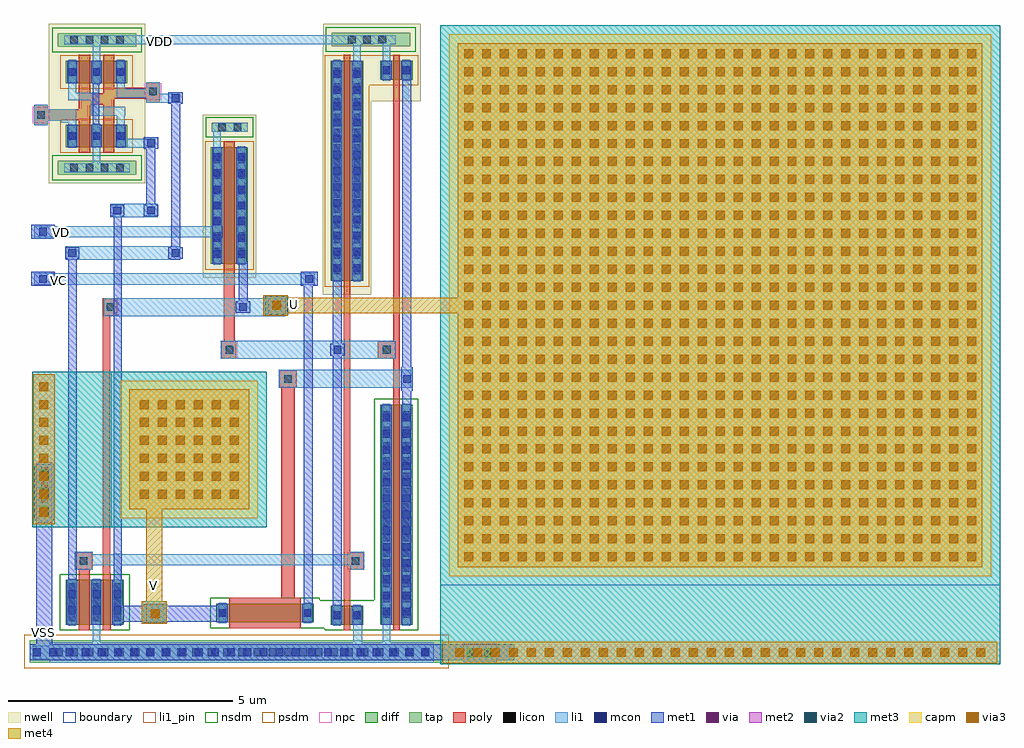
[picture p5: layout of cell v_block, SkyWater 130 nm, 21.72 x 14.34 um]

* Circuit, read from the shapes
.subckt v_block U V VC VD VDD VSS
XM1 VSS V sky130_fd_pr__nfet_01v8_NNSXPP_7/D VSS sky130_fd_pr__nfet_01v8 w=1 l=0.25
XM2 V U VSS VSS sky130_fd_pr__nfet_01v8 w=1 l=0.18
XM3 VC sky130_fd_pr__nfet_01v8_YR5YMH_10/S V VSS sky130_fd_pr__nfet_01v8 w=0.42 l=1.6
XM4 VSS V sky130_fd_pr__nfet_01v8_WDNT9J_11/D VSS sky130_fd_pr__nfet_01v8 w=0.42 l=0.15
XM5 sky130_fd_pr__nfet_01v8_YR5YMH_10/S sky130_fd_pr__nfet_01v8_WDNT9J_11/D VSS VSS sky130_fd_pr__nfet_01v8 w=4.9 l=0.15
XM6 VDD sky130_fd_pr__nfet_01v8_NNSXPP_7/D sky130_fd_pr__nfet_01v8_NNSXPP_7/D VDD sky130_fd_pr__pfet_01v8 w=0.5 l=0.25 m=2
XM7 VDD sky130_fd_pr__nfet_01v8_NNSXPP_7/D V VDD sky130_fd_pr__pfet_01v8 w=0.5 l=0.25 m=2
XM8 U sky130_fd_pr__nfet_01v8_WDNT9J_11/D VD VD sky130_fd_pr__pfet_01v8 w=2.6 l=0.25
XM9 VDD V sky130_fd_pr__nfet_01v8_WDNT9J_11/D VDD sky130_fd_pr__pfet_01v8 w=4.9 l=0.15
XM10 sky130_fd_pr__nfet_01v8_YR5YMH_10/S sky130_fd_pr__nfet_01v8_WDNT9J_11/D VDD VDD sky130_fd_pr__pfet_01v8 w=0.42 l=0.15
XC11 V VSS sky130_fd_pr__cap_mim_m3_1 w=3.06 l=3.06
XC12 U VSS sky130_fd_pr__cap_mim_m3_1 w=12.06 l=12.06
.ends

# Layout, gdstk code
from math import pi, radians
import gdstk
lib = gdstk.Library(unit=1e-6, precision=1e-09)
def R(c, l, rs):  # rectangles x0, y0, x1, y1
    for r in rs: c.add(gdstk.rectangle(r[:2], r[2:], *l))
def A(c, l, x, y, w, h, nx, ny, dx, dy):  # array of equal rectangles
    R(c, l, [(x+i*dx, y+j*dy, x+i*dx+w, y+j*dy+h) for i in range(nx) for j in range(ny)])
nwell = (64, 20)
diff = (65, 20)
tap = (65, 44)
poly = (66, 20)
licon = (66, 44)
li1_pin = (67, 16)
li1 = (67, 20)
mcon = (67, 44)
met1 = (68, 20)
via = (68, 44)
met2 = (69, 20)
via2 = (69, 44)
met3 = (70, 20)
via3 = (70, 44)
met4 = (71, 20)
capm = (89, 44)
nsdm = (93, 44)
psdm = (94, 20)
npc = (95, 20)
boundary = (235, 4)

sky130_fd_pr__pfet_01v8_ = lib.new_cell('sky130_fd_pr__pfet_01v8_DFN4CE')
R(sky130_fd_pr__pfet_01v8_, nwell, [(-0.865,-0.56,0.865,0.56)])
R(sky130_fd_pr__pfet_01v8_, diff, [(-0.685,-0.25,0.685,0.25)])
R(sky130_fd_pr__pfet_01v8_, poly, [(-0.395,-0.38,-0.145,0.38), (0.145,-0.38,0.395,0.38)])
A(sky130_fd_pr__pfet_01v8_, licon, -0.625, -0.085, 0.17, 0.17, 3, 1, 0.54, 0)
A(sky130_fd_pr__pfet_01v8_, li1, -0.625, -0.27, 0.17, 0.54, 3, 1, 0.54, 0)
A(sky130_fd_pr__pfet_01v8_, mcon, -0.625, -0.085, 0.17, 0.17, 3, 1, 0.54, 0)
A(sky130_fd_pr__pfet_01v8_, met1, -0.655, -0.25, 0.23, 0.5, 3, 1, 0.54, 0)
R(sky130_fd_pr__pfet_01v8_, psdm, [(-0.81,-0.375,0.81,0.375)])
sky130_fd_pr__pfet_01v8_.add(gdstk.Label('S1', (0,0), layer=67, texttype=5))
sky130_fd_pr__pfet_01v8_.add(gdstk.Label('D0', (-0.54,0), layer=67, texttype=5))

sky130_fd_pr__cap_mim_m3 = lib.new_cell('sky130_fd_pr__cap_mim_m3_1_Y8YGPQ')
R(sky130_fd_pr__cap_mim_m3, met3, [(-2.61,-1.73,2.61,1.73)])
A(sky130_fd_pr__cap_mim_m3, via3, 2.25, -1.5, 0.2, 0.2, 1, 8, 0, 0.4)
A(sky130_fd_pr__cap_mim_m3, via3, -1.98, -1.1, 0.2, 0.2, 6, 6, 0.4, 0.4)
R(sky130_fd_pr__cap_mim_m3, met4, [(2.11,-1.67,2.59,1.67), (-2.215,-1.335,0.455,1.335)])
R(sky130_fd_pr__cap_mim_m3, capm, [(-2.41,-1.53,0.65,1.53)])
R(sky130_fd_pr__cap_mim_m3, boundary, [(-2.61,-1.73,0.85,1.73)])
sky130_fd_pr__cap_mim_m3.add(gdstk.Label('C1', (-0.88,0), layer=71, texttype=5))
sky130_fd_pr__cap_mim_m3.add(gdstk.Label('C2', (2.35,0), layer=71, texttype=5))

c_sky130_fd_pr__cap_mim_m3 = lib.new_cell('sky130_fd_pr__cap_mim_m3_1_UQ5C2T')
R(c_sky130_fd_pr__cap_mim_m3, met3, [(-7.11,-6.23,7.11,6.23)])
A(c_sky130_fd_pr__cap_mim_m3, via3, 6.75, -5.9, 0.2, 0.2, 1, 30, 0, 0.4)
A(c_sky130_fd_pr__cap_mim_m3, via3, -6.58, -5.7, 0.2, 0.2, 29, 29, 0.4, 0.4)
R(c_sky130_fd_pr__cap_mim_m3, met4, [(6.61,-6.17,7.09,6.17), (-6.715,-5.835,4.955,5.835)])
R(c_sky130_fd_pr__cap_mim_m3, capm, [(-6.91,-6.03,5.15,6.03)])
R(c_sky130_fd_pr__cap_mim_m3, boundary, [(-7.11,-6.23,5.35,6.23)])
c_sky130_fd_pr__cap_mim_m3.add(gdstk.Label('C1', (-0.88,0), layer=71, texttype=5))
c_sky130_fd_pr__cap_mim_m3.add(gdstk.Label('C2', (6.85,0), layer=71, texttype=5))

c_sky130_fd_pr__pfet_01v8_ = lib.new_cell('sky130_fd_pr__pfet_01v8_L8NR4Q')
R(c_sky130_fd_pr__pfet_01v8_, nwell, [(-0.595,-1.61,0.595,1.61)])
R(c_sky130_fd_pr__pfet_01v8_, diff, [(-0.415,-1.3,0.415,1.3)])
R(c_sky130_fd_pr__pfet_01v8_, poly, [(-0.125,-1.43,0.125,1.43)])
A(c_sky130_fd_pr__pfet_01v8_, licon, -0.355, -1.105, 0.17, 0.17, 1, 7, 0, 0.34)
A(c_sky130_fd_pr__pfet_01v8_, licon, 0.185, -1.105, 0.17, 0.17, 1, 7, 0, 0.34)
R(c_sky130_fd_pr__pfet_01v8_, li1, [(-0.355,-1.32,-0.185,1.32), (0.185,-1.32,0.355,1.32)])
A(c_sky130_fd_pr__pfet_01v8_, mcon, -0.355, -1.165, 0.17, 0.17, 1, 7, 0, 0.36)
A(c_sky130_fd_pr__pfet_01v8_, mcon, 0.185, -1.165, 0.17, 0.17, 1, 7, 0, 0.36)
R(c_sky130_fd_pr__pfet_01v8_, met1, [(-0.385,-1.3,-0.155,1.3), (0.155,-1.3,0.385,1.3)])
R(c_sky130_fd_pr__pfet_01v8_, psdm, [(-0.54,-1.425,0.54,1.425)])
c_sky130_fd_pr__pfet_01v8_.add(gdstk.Label('S', (0.27,0), layer=67, texttype=5))
c_sky130_fd_pr__pfet_01v8_.add(gdstk.Label('D', (-0.27,0), layer=67, texttype=5))

c_sky130_fd_pr__pfet_01v8__ = lib.new_cell('sky130_fd_pr__pfet_01v8_DNXTX2')
R(c_sky130_fd_pr__pfet_01v8__, nwell, [(-0.545,-0.52,0.545,0.52)])
R(c_sky130_fd_pr__pfet_01v8__, diff, [(-0.365,-0.21,0.365,0.21)])
R(c_sky130_fd_pr__pfet_01v8__, poly, [(-0.075,-0.34,0.075,0.34)])
R(c_sky130_fd_pr__pfet_01v8__, licon, [(-0.305,-0.085,-0.135,0.085), (0.135,-0.085,0.305,0.085)])
R(c_sky130_fd_pr__pfet_01v8__, li1, [(-0.305,-0.23,-0.135,0.23), (0.135,-0.23,0.305,0.23)])
R(c_sky130_fd_pr__pfet_01v8__, mcon, [(-0.305,-0.085,-0.135,0.085), (0.135,-0.085,0.305,0.085)])
R(c_sky130_fd_pr__pfet_01v8__, met1, [(-0.335,-0.21,-0.105,0.21), (0.105,-0.21,0.335,0.21)])
R(c_sky130_fd_pr__pfet_01v8__, psdm, [(-0.49,-0.335,0.49,0.335)])
c_sky130_fd_pr__pfet_01v8__.add(gdstk.Label('S', (0.22,0), layer=67, texttype=5))
c_sky130_fd_pr__pfet_01v8__.add(gdstk.Label('D', (-0.22,0), layer=67, texttype=5))

c_sky130_fd_pr__pfet_01v8___ = lib.new_cell('sky130_fd_pr__pfet_01v8_NC9VRR')
R(c_sky130_fd_pr__pfet_01v8___, nwell, [(-0.545,-2.76,0.545,2.76)])
R(c_sky130_fd_pr__pfet_01v8___, diff, [(-0.365,-2.45,0.365,2.45)])
R(c_sky130_fd_pr__pfet_01v8___, poly, [(-0.075,-2.58,0.075,2.58)])
A(c_sky130_fd_pr__pfet_01v8___, licon, -0.305, -2.295, 0.17, 0.17, 1, 14, 0, 0.34)
A(c_sky130_fd_pr__pfet_01v8___, licon, 0.135, -2.295, 0.17, 0.17, 1, 14, 0, 0.34)
R(c_sky130_fd_pr__pfet_01v8___, li1, [(-0.305,-2.47,-0.135,2.47), (0.135,-2.47,0.305,2.47)])
A(c_sky130_fd_pr__pfet_01v8___, mcon, -0.305, -2.245, 0.17, 0.17, 1, 13, 0, 0.36)
A(c_sky130_fd_pr__pfet_01v8___, mcon, 0.135, -2.245, 0.17, 0.17, 1, 13, 0, 0.36)
R(c_sky130_fd_pr__pfet_01v8___, met1, [(-0.335,-2.45,-0.105,2.45), (0.105,-2.45,0.335,2.45)])
R(c_sky130_fd_pr__pfet_01v8___, psdm, [(-0.49,-2.575,0.49,2.575)])
c_sky130_fd_pr__pfet_01v8___.add(gdstk.Label('S', (0.22,0), layer=67, texttype=5))
c_sky130_fd_pr__pfet_01v8___.add(gdstk.Label('D', (-0.22,0), layer=67, texttype=5))

sky130_fd_pr__nfet_01v8_ = lib.new_cell('sky130_fd_pr__nfet_01v8_NNSXPP')
R(sky130_fd_pr__nfet_01v8_, diff, [(-0.415,-0.5,0.415,0.5)])
R(sky130_fd_pr__nfet_01v8_, poly, [(-0.125,-0.63,0.125,0.63)])
A(sky130_fd_pr__nfet_01v8_, licon, -0.355, -0.425, 0.17, 0.17, 1, 3, 0, 0.34)
A(sky130_fd_pr__nfet_01v8_, licon, 0.185, -0.425, 0.17, 0.17, 1, 3, 0, 0.34)
R(sky130_fd_pr__nfet_01v8_, li1, [(-0.355,-0.52,-0.185,0.52), (0.185,-0.52,0.355,0.52)])
R(sky130_fd_pr__nfet_01v8_, mcon, [(-0.355,-0.265,-0.185,-0.095), (0.185,-0.265,0.355,-0.095), (-0.355,0.095,-0.185,0.265), (0.185,0.095,0.355,0.265)])
R(sky130_fd_pr__nfet_01v8_, met1, [(-0.385,-0.5,-0.155,0.5), (0.155,-0.5,0.385,0.5)])
R(sky130_fd_pr__nfet_01v8_, nsdm, [(-0.54,-0.625,0.54,0.625)])
sky130_fd_pr__nfet_01v8_.add(gdstk.Label('S', (0.27,0), layer=67, texttype=5))
sky130_fd_pr__nfet_01v8_.add(gdstk.Label('D', (-0.27,0), layer=67, texttype=5))

c_sky130_fd_pr__nfet_01v8_ = lib.new_cell('sky130_fd_pr__nfet_01v8_5LG4QK')
R(c_sky130_fd_pr__nfet_01v8_, diff, [(-0.38,-0.5,0.38,0.5)])
R(c_sky130_fd_pr__nfet_01v8_, poly, [(-0.09,-0.63,0.09,0.63)])
A(c_sky130_fd_pr__nfet_01v8_, licon, -0.32, -0.425, 0.17, 0.17, 1, 3, 0, 0.34)
A(c_sky130_fd_pr__nfet_01v8_, licon, 0.15, -0.425, 0.17, 0.17, 1, 3, 0, 0.34)
R(c_sky130_fd_pr__nfet_01v8_, li1, [(-0.32,-0.52,-0.15,0.52), (0.15,-0.52,0.32,0.52)])
R(c_sky130_fd_pr__nfet_01v8_, mcon, [(-0.32,-0.265,-0.15,-0.095), (0.15,-0.265,0.32,-0.095), (-0.32,0.095,-0.15,0.265), (0.15,0.095,0.32,0.265)])
R(c_sky130_fd_pr__nfet_01v8_, met1, [(-0.35,-0.5,-0.12,0.5), (0.12,-0.5,0.35,0.5)])
R(c_sky130_fd_pr__nfet_01v8_, nsdm, [(-0.505,-0.625,0.505,0.625)])
c_sky130_fd_pr__nfet_01v8_.add(gdstk.Label('S', (0.235,0), layer=67, texttype=5))
c_sky130_fd_pr__nfet_01v8_.add(gdstk.Label('D', (-0.235,0), layer=67, texttype=5))

c_sky130_fd_pr__nfet_01v8__ = lib.new_cell('sky130_fd_pr__nfet_01v8_D8LFQT')
R(c_sky130_fd_pr__nfet_01v8__, diff, [(-1.09,-0.21,1.09,0.21)])
R(c_sky130_fd_pr__nfet_01v8__, poly, [(-0.8,-0.34,0.8,0.34)])
R(c_sky130_fd_pr__nfet_01v8__, licon, [(-1.03,-0.085,-0.86,0.085), (0.86,-0.085,1.03,0.085)])
R(c_sky130_fd_pr__nfet_01v8__, li1, [(-1.03,-0.23,-0.86,0.23), (0.86,-0.23,1.03,0.23)])
R(c_sky130_fd_pr__nfet_01v8__, mcon, [(-1.03,-0.085,-0.86,0.085), (0.86,-0.085,1.03,0.085)])
R(c_sky130_fd_pr__nfet_01v8__, met1, [(-1.06,-0.21,-0.83,0.21), (0.83,-0.21,1.06,0.21)])
R(c_sky130_fd_pr__nfet_01v8__, nsdm, [(-1.215,-0.335,1.215,0.335)])
c_sky130_fd_pr__nfet_01v8__.add(gdstk.Label('S', (0.945,0), layer=67, texttype=5))
c_sky130_fd_pr__nfet_01v8__.add(gdstk.Label('D', (-0.945,0), layer=67, texttype=5))

c_sky130_fd_pr__nfet_01v8___ = lib.new_cell('sky130_fd_pr__nfet_01v8_YR5YMH')
R(c_sky130_fd_pr__nfet_01v8___, diff, [(-0.365,-2.45,0.365,2.45)])
R(c_sky130_fd_pr__nfet_01v8___, poly, [(-0.075,-2.58,0.075,2.58)])
A(c_sky130_fd_pr__nfet_01v8___, licon, -0.305, -2.295, 0.17, 0.17, 1, 14, 0, 0.34)
A(c_sky130_fd_pr__nfet_01v8___, licon, 0.135, -2.295, 0.17, 0.17, 1, 14, 0, 0.34)
R(c_sky130_fd_pr__nfet_01v8___, li1, [(-0.305,-2.47,-0.135,2.47), (0.135,-2.47,0.305,2.47)])
A(c_sky130_fd_pr__nfet_01v8___, mcon, -0.305, -2.245, 0.17, 0.17, 1, 13, 0, 0.36)
A(c_sky130_fd_pr__nfet_01v8___, mcon, 0.135, -2.245, 0.17, 0.17, 1, 13, 0, 0.36)
R(c_sky130_fd_pr__nfet_01v8___, met1, [(-0.335,-2.45,-0.105,2.45), (0.105,-2.45,0.335,2.45)])
R(c_sky130_fd_pr__nfet_01v8___, nsdm, [(-0.49,-2.575,0.49,2.575)])
c_sky130_fd_pr__nfet_01v8___.add(gdstk.Label('S', (0.22,0), layer=67, texttype=5))
c_sky130_fd_pr__nfet_01v8___.add(gdstk.Label('D', (-0.22,0), layer=67, texttype=5))

c_sky130_fd_pr__nfet_01v8____ = lib.new_cell('sky130_fd_pr__nfet_01v8_WDNT9J')
R(c_sky130_fd_pr__nfet_01v8____, diff, [(-0.365,-0.21,0.365,0.21)])
R(c_sky130_fd_pr__nfet_01v8____, poly, [(-0.075,-0.34,0.075,0.34)])
R(c_sky130_fd_pr__nfet_01v8____, licon, [(-0.305,-0.085,-0.135,0.085), (0.135,-0.085,0.305,0.085)])
R(c_sky130_fd_pr__nfet_01v8____, li1, [(-0.305,-0.23,-0.135,0.23), (0.135,-0.23,0.305,0.23)])
R(c_sky130_fd_pr__nfet_01v8____, mcon, [(-0.305,-0.085,-0.135,0.085), (0.135,-0.085,0.305,0.085)])
R(c_sky130_fd_pr__nfet_01v8____, met1, [(-0.335,-0.21,-0.105,0.21), (0.105,-0.21,0.335,0.21)])
R(c_sky130_fd_pr__nfet_01v8____, nsdm, [(-0.49,-0.335,0.49,0.335)])
c_sky130_fd_pr__nfet_01v8____.add(gdstk.Label('S', (0.22,0), layer=67, texttype=5))
c_sky130_fd_pr__nfet_01v8____.add(gdstk.Label('D', (-0.22,0), layer=67, texttype=5))

v_block = lib.new_cell('v_block')
R(v_block, nwell, [(11.75,-3.635,12.94,-0.415), (8.325,-1.95,10.475,1.6), (14.44,-0.12,16.61,1.605)])
R(v_block, tap, [(7.9,-12.615,17.1,-12.115), (8.525,-1.755,10.275,-1.445), (11.95,-0.8,12.75,-0.6), (8.525,1.095,10.275,1.395), (14.62,1.105,16.37,1.405)])
R(v_block, poly, [(14.89,-11.35,15.04,-10.55), (13.65,-11.2,13.8,-11.175), (13.5,-11.175,13.8,-6.5), (8.99,-10.77,9.24,-10.55), (9.53,-10.77,9.7,-4.9), (8.9,-10.55,9.3,-10.15), (14.89,-10.55,15.35,-10.15), (14.89,-10.15,15.04,-4.25), (15.99,-6.79,16.14,-5.85), (13.45,-6.5,13.85,-6.1), (12.15,-5.85,12.5,-5.45), (15.65,-5.85,16.14,-5.45), (12.22,-5.45,12.47,-3.87), (15.99,-5.45,16.14,0.38), (9.53,-4.9,9.85,-4.5), (8.995,-0.82,9.245,-0.545), (9.535,-0.82,9.785,-0.195), (8,-0.65,8.3,-0.55), (8,-0.55,8.6,-0.545), (8,-0.545,9.245,-0.3), (8,-0.3,8.3,-0.2), (8.6,-0.3,9.245,-0.295), (8.995,-0.295,9.245,-0.195), (8.995,-0.195,9.785,-0.065), (10.5,-0.15,10.8,-0.065), (8.995,-0.065,10.8,0.055), (8.995,0.055,9.245,0.265), (9.535,0.055,10.8,0.185), (9.535,0.185,9.785,0.265), (10.5,0.185,10.8,0.3)])
A(v_block, licon, 8.465, -12.47, 0.17, 0.17, 25, 1, 0.34, 0)
A(v_block, licon, 8.805, -1.69, 0.17, 0.17, 4, 2, 0.34, 2.85)
A(v_block, licon, 14.985, 1.17, 0.17, 0.17, 3, 1, 0.34, 0)
R(v_block, licon, [(9.015,-10.435,9.185,-10.265), (15.065,-10.435,15.235,-10.265), (13.565,-6.385,13.735,-6.215), (12.265,-5.735,12.435,-5.565), (15.765,-5.735,15.935,-5.565), (9.615,-4.785,9.785,-4.615), (12.1,-0.785,12.27,-0.615), (12.44,-0.785,12.61,-0.615), (8.065,-0.51,8.235,-0.34), (10.565,0.015,10.735,0.185)])
R(v_block, li1_pin, [(10.75,1.2,10.82,1.22)])
R(v_block, li1, [(8.35,-12.615,16.9,-12.535), (7.965,-12.535,16.9,-12.235), (8.35,-12.235,16.9,-12.165), (9.3,-12.165,9.47,-11.775), (15.1,-12.165,15.3,-11.765), (15.76,-12.165,15.93,-11.775), (10.5,-11.7,10.9,-11.35), (9.77,-10.83,9.94,-10.45), (8.9,-10.55,9.3,-10.45), (15.035,-10.55,15.35,-10.45), (8.9,-10.45,15.35,-10.2), (8.9,-10.2,9.3,-10.15), (9.77,-10.2,9.94,-10.19), (15.035,-10.2,15.35,-10.15), (13.45,-6.5,16.4,-6.1), (12.15,-5.85,16.05,-5.45), (9.55,-4.9,13.6,-4.5), (13.2,-4.5,13.6,-4.49), (8,-4.2,14.25,-3.95), (8.7,-3.65,11.25,-3.35), (8,-3.15,12.2,-2.9), (9.7,-2.7,10.75,-2.4), (8.675,-1.705,10.125,-1.505), (9.305,-1.505,9.475,-1.075), (11.985,-1.2,12.155,-0.8), (9.845,-1.155,10.015,-1.15), (9.845,-1.15,10.7,-1.075), (8.765,-1.08,8.935,-0.6), (9.85,-1.075,10.7,-0.95), (11.95,-0.8,12.75,-0.6), (9.845,-0.7,10.015,-0.445), (8,-0.65,8.3,-0.55), (8.6,-0.6,8.935,-0.55), (8,-0.55,8.935,-0.3), (9.275,-0.445,10.025,-0.245), (8,-0.3,8.3,-0.2), (9.275,-0.245,9.445,-0.095), (10.5,-0.15,11.25,-0.045), (8.765,-0.095,9.445,0.075), (9.845,-0.045,11.25,0.05), (9.845,0.05,10.8,0.155), (8.765,0.075,8.935,0.325), (9.845,0.155,10.015,0.335), (10.5,0.155,10.8,0.3), (15.1,0.55,15.27,1.15), (15.76,0.555,15.93,1.15), (9.305,0.695,9.475,1.145), (8.675,1.145,10.125,1.15), (8.675,1.15,15.56,1.155), (15.76,1.15,16.05,1.155), (8.675,1.155,16.05,1.345), (8.7,1.345,16.05,1.35), (14.6,1.35,16.05,1.355)])
A(v_block, mcon, 7.98, -12.47, 0.17, 0.17, 25, 1, 0.36, 0)
R(v_block, mcon, [(10.615,-11.61,10.785,-11.44), (16.215,-6.385,16.385,-6.215), (14.665,-5.735,14.835,-5.565), (12.565,-4.785,12.735,-4.615), (13.315,-4.75,13.485,-4.58), (8.115,-4.16,8.285,-3.99), (14.04,-4.16,14.21,-3.99), (8.765,-3.585,8.935,-3.415), (11.065,-3.585,11.235,-3.415), (8.115,-3.11,8.285,-2.94), (9.765,-2.635,9.935,-2.465), (10.515,-2.635,10.685,-2.465), (10.515,-1.135,10.685,-0.965), (11.065,-0.135,11.235,0.035)])
R(v_block, met1, [(7.905,-12.565,18.685,-12.205), (8.05,-12.205,8.4,-9.45), (10.44,-11.73,10.96,-11.7), (9.75,-11.7,12.25,-11.35), (14.65,-11.7,14.85,-5.78), (14,-11.36,14.2,-4.23), (10.44,-11.35,10.96,-11.32), (8.76,-10.83,8.95,-3.63), (9.77,-10.83,9.95,-2.68), (8,-9.45,8.45,-8.2), (16.19,-7.2,16.39,-6.56), (16.17,-6.56,16.43,-6.04), (16.19,-6.04,16.39,0.45), (14.59,-5.78,14.91,-5.52), (14.65,-5.52,14.85,-4.05), (13.14,-4.87,13.66,-4.46), (12.49,-4.83,12.81,-4.57), (12.55,-4.57,12.75,-3.7), (7.94,-4.23,8.46,-3.92), (13.94,-4.23,14.31,-3.92), (11.05,-3.65,11.25,-3.63), (8.69,-3.63,9.01,-3.37), (10.99,-3.63,11.31,-3.37), (11.05,-3.37,11.25,-0.18), (7.94,-3.18,8.46,-2.87), (9.69,-2.68,10.01,-2.42), (10.44,-2.68,10.76,-2.42), (10.5,-2.42,10.7,-1.18), (10.44,-1.18,10.76,-0.92), (9.3,-1.1,9.45,0.7), (10.99,-0.18,11.31,0.08)])
A(v_block, via, 8.15, -9.38, 0.15, 0.15, 1, 4, 0, 0.32)
R(v_block, via, [(17.69,-12.475,17.84,-12.325), (18.01,-12.475,18.16,-12.325), (10.625,-11.6,10.775,-11.45), (13.325,-4.74,13.475,-4.59)])
R(v_block, met2, [(17.55,-12.6,18.3,-12.2), (10.5,-11.75,10.9,-11.3), (8.05,-9.5,8.4,-8.15), (13.2,-4.89,13.6,-4.44)])
A(v_block, via2, 8.125, -9.325, 0.2, 0.2, 1, 3, 0, 0.4)
R(v_block, via2, [(17.625,-12.5,17.825,-12.3), (18.025,-12.5,18.225,-12.3), (10.6,-11.625,10.8,-11.425), (13.3,-4.765,13.5,-4.565)])
R(v_block, met3, [(17.5,-12.575,18.35,-12.225), (10.4,-11.75,10.95,-11.25), (8,-9.475,8.45,-8.175), (13.1,-4.89,13.65,-4.44)])
R(v_block, via3, [(10.6,-11.625,10.8,-11.425), (13.3,-4.765,13.5,-4.565)])
R(v_block, met4, [(10.4,-11.75,10.95,-11.25), (10.5,-11.25,10.85,-8.8), (13.1,-4.89,13.65,-4.84), (13.1,-4.84,18.3,-4.49), (13.1,-4.49,13.65,-4.44)])
R(v_block, nsdm, [(15.455,-11.895,15.575,-11.225), (14.355,-11.845,14.475,-11.225), (8.4,-1.88,10.4,-1.32), (11.825,-0.925,12.875,-0.475), (8.4,0.97,10.4,1.52), (14.495,0.98,16.495,1.53)])
R(v_block, psdm, [(7.775,-12.74,17.225,-11.99), (15.455,0.235,15.575,0.905)])
R(v_block, npc, [(8.915,-10.535,9.285,-10.165), (14.965,-10.535,15.335,-10.165), (13.465,-6.485,13.835,-6.115), (12.165,-5.835,12.535,-5.465), (15.665,-5.835,16.035,-5.465), (9.515,-4.885,9.885,-4.515), (7.965,-0.61,8.335,-0.24), (10.465,-0.085,10.835,0.285)])
v_block.add(gdstk.Reference(sky130_fd_pr__pfet_01v8_, (9.39,0.53)))
v_block.add(gdstk.Reference(sky130_fd_pr__cap_mim_m3, (10.57,-7.87), rotation=pi, x_reflection=True))
v_block.add(gdstk.Reference(c_sky130_fd_pr__cap_mim_m3, (23.27,-5.54), rotation=3*pi/2, x_reflection=True))
v_block.add(gdstk.Reference(sky130_fd_pr__pfet_01v8_, (9.39,-0.89)))
v_block.add(gdstk.Reference(c_sky130_fd_pr__pfet_01v8_, (12.345,-2.44)))
v_block.add(gdstk.Reference(c_sky130_fd_pr__pfet_01v8__, (16.065,0.57)))
v_block.add(gdstk.Reference(c_sky130_fd_pr__pfet_01v8___, (14.965,-1.67)))
v_block.add(gdstk.Reference(sky130_fd_pr__nfet_01v8_, (9.115,-11.27)))
v_block.add(gdstk.Reference(c_sky130_fd_pr__nfet_01v8_, (9.62,-11.27)))
v_block.add(gdstk.Reference(c_sky130_fd_pr__nfet_01v8__, (13.14,-11.51)))
v_block.add(gdstk.Reference(c_sky130_fd_pr__nfet_01v8___, (16.065,-9.32)))
v_block.add(gdstk.Reference(c_sky130_fd_pr__nfet_01v8____, (14.965,-11.56)))
v_block.add(gdstk.Label('VC', (8.55,-4.1), layer=67, texttype=5))
v_block.add(gdstk.Label('VD', (8.6,-3.05), layer=67, texttype=5))
v_block.add(gdstk.Label('VDD', (10.785,1.21), layer=67, texttype=5))
v_block.add(gdstk.Label('U', (13.8,-4.65), layer=71, texttype=5))
v_block.add(gdstk.Label('V', (10.65,-10.9), layer=71, texttype=5))
v_block.add(gdstk.Label('VSS', (8.2,-11.95), layer=68, texttype=5))

lib.write_gds('v_block.gds')
